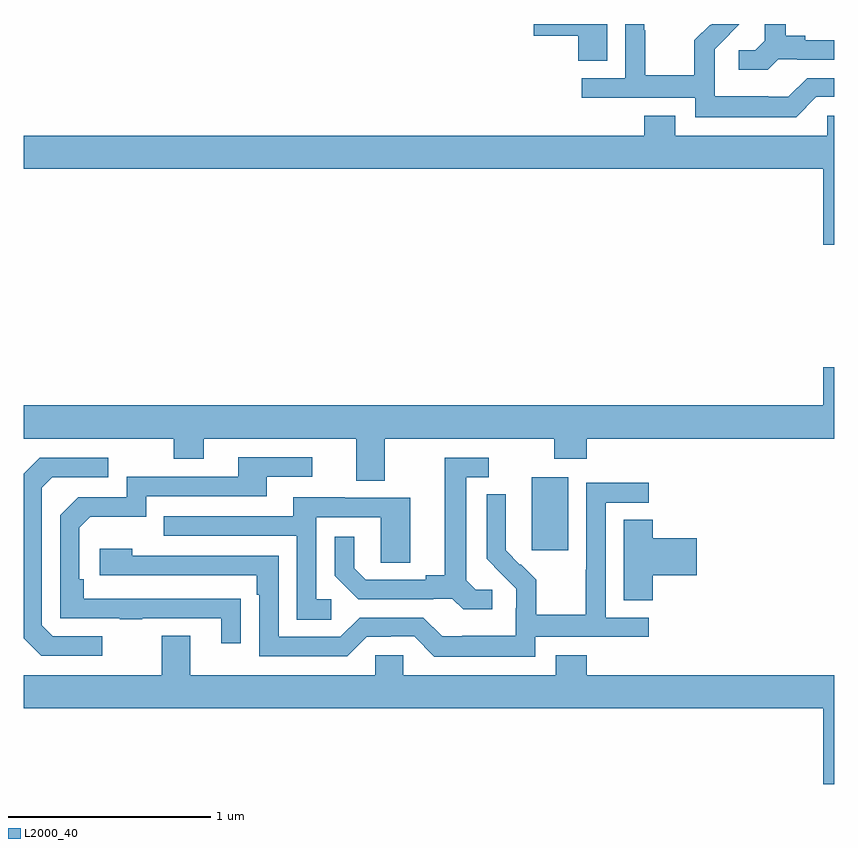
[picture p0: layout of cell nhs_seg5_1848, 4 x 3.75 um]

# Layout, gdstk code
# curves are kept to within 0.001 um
import gdstk
lib = gdstk.Library(unit=1e-6, precision=1e-09)
def R(c, l, rs):  # rectangles x0, y0, x1, y1
    for r in rs: c.add(gdstk.rectangle(r[:2], r[2:], *l))
def P(c, l, *ps):  # polygons
    for p in ps: c.add(gdstk.Polygon(p, *l))
L2000_40 = (2000, 40)

nhs_seg5_1848 = lib.new_cell('nhs_seg5_1848')
R(nhs_seg5_1848, L2000_40, [(223.508,864.201,223.687,864.562)])
P(nhs_seg5_1848, L2000_40, [(223.879,866.799),(223.518,866.799),(223.518,866.741),(223.736,866.741),(223.736,866.617),(223.879,866.617)],
  [(224.913,866.439),(225,866.439),(225,866.532),(224.868,866.532),(224.775,866.439),(224.675,866.439),(224.675,866.443),(224.412,866.443),(224.412,866.577),(224.41,866.577),(224.41,866.674),(224.533,866.799),(224.397,866.799),(224.391,866.793),(224.388,866.796),(224.311,866.719),(224.311,866.545),(224.067,866.545),(224.067,866.768),(224.064,866.768),(224.064,866.799),(223.968,866.799),(223.968,866.532),(223.755,866.532),(223.755,866.436),(224.316,866.436),(224.316,866.339),(224.813,866.339)],
  [(224.724,866.625),(224.818,866.625),(224.818,866.622),(225,866.622),(225,866.718),(224.857,866.718),(224.857,866.741),(224.761,866.741),(224.761,866.799),(224.657,866.799),(224.657,866.717),(224.61,866.67),(224.529,866.67),(224.529,866.573),(224.672,866.573)],
  [(225,866.346),(224.967,866.346),(224.967,866.248),(224.215,866.248),(224.215,866.347),(224.063,866.347),(224.063,866.248),(221,866.248),(221,866.084),(224.948,866.084),(224.948,865.71),(225,865.71)],
  [(222.781,864.752),(223.618,864.752),(223.618,864.653),(223.778,864.653),(223.778,864.752),(225,864.752),(225,865.105),(224.948,865.105),(224.948,864.916),(221,864.916),(221,864.752),(221.74,864.752),(221.74,864.653),(221.887,864.653),(221.887,864.752),(222.641,864.752),(222.641,864.544),(222.781,864.544)],
  [(222.071,863.96),(221.294,863.961),(221.294,864.058),(221.274,864.058),(221.274,864.312),(221.327,864.365),(221.604,864.365),(221.604,864.468),(222.199,864.468),(222.199,864.564),(222.424,864.564),(222.424,864.66),(222.059,864.66),(222.059,864.564),(221.508,864.564),(221.508,864.462),(221.268,864.462),(221.178,864.372),(221.178,863.865),(221.473,863.865),(221.473,863.86),(221.585,863.86),(221.585,863.865),(221.975,863.865),(221.975,863.742),(222.071,863.742)],
  [(223.312,864.006),(223.23,864.006),(223.183,864.053),(223.183,864.561),(223.294,864.561),(223.294,864.657),(223.079,864.657),(223.079,864.077),(222.983,864.077),(222.983,864.054),(222.688,864.054),(222.631,864.111),(222.631,864.268),(222.534,864.268),(222.534,864.074),(222.65,863.958),(223.022,863.958),(223.022,863.961),(223.116,863.961),(223.168,863.909),(223.312,863.909)],
  [(221.386,863.775),(221.142,863.775),(221.088,863.829),(221.088,864.51),(221.139,864.561),(221.416,864.561),(221.416,864.657),(221.079,864.657),(221,864.578),(221,863.765),(221.085,863.679),(221.386,863.679)],
  [(223.524,863.772),(224.086,863.772),(224.086,863.868),(223.872,863.868),(223.872,864.435),(224.086,864.435),(224.086,864.534),(223.776,864.534),(223.776,864.104),(223.774,864.104),(223.774,863.881),(223.529,863.881),(223.529,864.055),(223.452,864.132),(223.449,864.129),(223.379,864.2),(223.38,864.476),(223.284,864.476),(223.284,864.158),(223.43,864.01),(223.43,863.913),(223.428,863.913),(223.428,863.779),(223.165,863.779),(223.165,863.775),(223.065,863.775),(222.972,863.868),(222.657,863.868),(222.561,863.772),(222.258,863.772),(222.258,864.174),(221.534,864.174),(221.534,864.208),(221.373,864.208),(221.373,864.078),(222.149,864.078),(222.149,863.981),(222.162,863.981),(222.162,863.676),(222.597,863.676),(222.693,863.772),(222.812,863.772),(222.812,863.775),(222.927,863.775),(223.027,863.675),(223.524,863.675)],
  [(222.517,863.958),(222.444,863.958),(222.444,864.363),(222.762,864.363),(222.762,864.139),(222.907,864.139),(222.907,864.459),(222.583,864.459),(222.583,864.463),(222.329,864.463),(222.329,864.369),(221.689,864.369),(221.689,864.273),(222.348,864.273),(222.348,863.857),(222.517,863.857)],
  [(224.105,864.077),(224.323,864.077),(224.323,864.26),(224.105,864.26),(224.105,864.35),(223.961,864.35),(223.961,863.953),(224.105,863.953)],
  [(225,863.584),(223.778,863.584),(223.778,863.683),(223.625,863.683),(223.625,863.584),(222.873,863.584),(222.873,863.682),(222.735,863.682),(222.735,863.584),(221.821,863.584),(221.821,863.779),(221.681,863.779),(221.681,863.584),(221,863.584),(221,863.42),(224.948,863.42),(224.948,863.046),(225,863.046)])

lib.write_gds('nhs_seg5_1848.gds')
